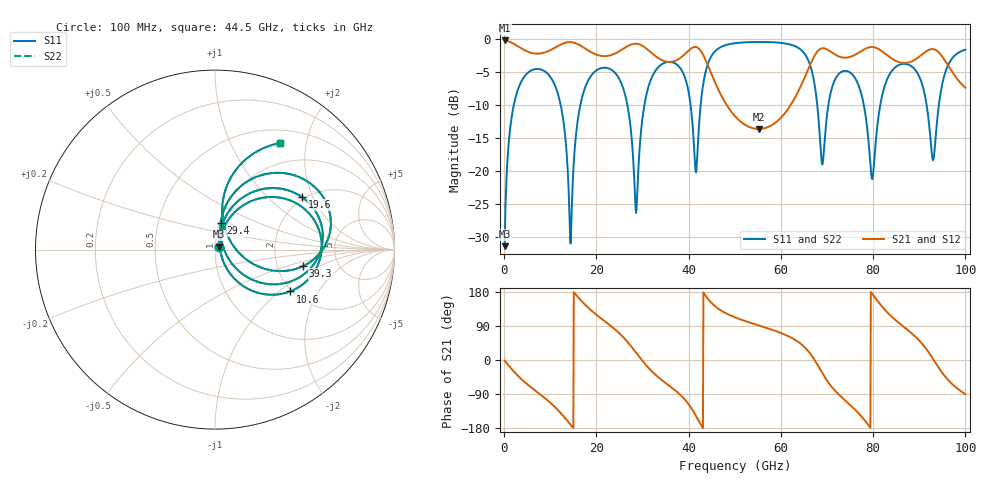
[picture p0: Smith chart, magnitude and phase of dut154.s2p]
! Touchstone file exported from HFSS 2026.1.0
!  File:  C:/ffzhzh/LocalFiles/Ansys_Project_Files/temp_test_TSV_RDL_154_1783464536_34316.aedt
!  Generated:  07:00:07 AM Jul  8, 2026
!  Design:  TSV_RDL
!  Project:  temp_test_TSV_RDL_154_1783464536_34316
! Variables:
!  h_bsmrdl = 4.61um
!  h_ox = 20um
!  h_rdl = 5um
!  h_sub = 90.59um
!  h_tmrdl = 4.79um
!  h_tsv = 90.59um
!  h_via = 3um
!  l_bsmrdl = 253.53um
!  l_sub = 3706.8um
!  l_tmrdl = 613.49um
!  m_sub = 200um
!  pitch = 53.82um
!  r_tsv = 11.66um
!  s_tmrdl = 10um
!  w_bsmrdl = 19.98um
!  w_sub = 500um
!  w_tmrdl = 10.77um
!  x_tsv_center1 = 618.875um
!  x_tsv_center2 = 892.385um
!  x_tsv_center3 = 1516.645um
!  x_tsv_center4 = 1790.155um
!  x_tsv_center5 = 2414.415um
!  x_tsv_center6 = 2687.925um
# GHz S MA R 50.000000
! Terminal data exported
! Port[1] = TM_RDL1_1_T1
! Port[2] = TM_RDL5_1_T1
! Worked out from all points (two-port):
!   1000 points, 100 MHz to 100 GHz, reference 50 ohm
!   highest |S21| = -0.18 dB at 100 MHz (marker M1); lowest = -13.6 dB at 55.2 GHz (marker M2)
!   |S21| within 3 dB of the highest: start of sweep to 34.24 GHz; 66.8 GHz to 84.63 GHz (17.83 GHz wide, 23.6 % of centre) (the widest 2 of 4)
!   lowest |S11| = -31.4 dB at 100 MHz (marker M3), VSWR 1.06, Z = 52.1 + j1.75 ohm
!   |S11| at or under -10 dB: 12.26 GHz to 16.51 GHz (4.253 GHz wide, 29.6 % of centre); 26.72 GHz to 30.4 GHz (3.682 GHz wide, 12.9 % of centre); 77.98 GHz to 81.54 GHz (3.554 GHz wide, 4.46 % of centre) (the widest 3 of 7)
!   |S22| runs from -31.4 to -0.4 dB; largest |S21 - S12| = 7.4e-14
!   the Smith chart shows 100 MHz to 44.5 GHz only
!   S11 on the Smith chart (normalised r, x): 100 MHz: 1.04, +0.03; 10.6 GHz: 1.96, -1.19; 19.6 GHz: 1.93, +1.66; 29.4 GHz: 1.02, +0.31; 39.3 GHz: 2.81, -0.69; 44.5 GHz: 0.68, +1.56
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0.1  0.02685 38.5  0.9793 -1.5  0.9793 -1.5  0.02685 38.5
! Gamma 0 0 0 0
! Port Impedance 50 0 50 0
3  0.4162 44.7  0.8836 -41.8  0.8836 -41.8  0.4162 44.7
10.6  0.479 -29.1  0.8467 -119.4  0.8467 -119.4  0.479 -29.1
14.4  0.02816 10.4  0.9515 -170.7  0.9515 -170.7  0.02857 10.4
16.8  0.3509 60.0  0.8836 155.3  0.8836 155.3  0.351 59.9
19.6  0.5657 31.2  0.7742 123.4  0.7742 123.4  0.5657 31.1
25.8  0.4258 -26.2  0.846 60.5  0.846 60.5  0.4259 -26.3
28.5  0.05157 -2.1  0.9254 21.1  0.9254 21.1  0.05112 -2.4
29.4  0.1533 77.6  0.9123 6.8  0.9123 6.8  0.153 77.8
33.4  0.6131 41.8  0.7203 -45.3  0.7203 -45.3  0.6129 41.8
39.3  0.5003 -10.5  0.7795 -105.9  0.7795 -105.9  0.5001 -10.5
41.6  0.09747 32.1  0.8739 -147.7  0.8739 -147.7  0.09843 32.2
44.5  0.6953 58.7  0.5952 156.7  0.5952 156.7  0.6956 58.6
50.1  0.9338 19.6  0.2595 112.3  0.2595 112.3  0.9338 19.6
55.2  0.9541 0.7  0.2084 91.3  0.2084 91.3  0.9541 0.7
66.7  0.5753 -67.6  0.6817 11.2  0.6817 11.2  0.5753 -67.6
69  0.1121 -28.0  0.8551 -35.0  0.8551 -35.0  0.1135 -28.1
72.9  0.559 -7.6  0.7332 -95.1  0.7332 -95.1  0.559 -8.0
79.8  0.08669 -5.3  0.8734 174.6  0.8734 174.6  0.08152 -5.5
83.4  0.5283 25.3  0.7401 121.6  0.7401 121.6  0.5276 25.5
92.8  0.1284 -16.0  0.8426 6.4  0.8426 6.4  0.1242 -16.8
100  0.8327 -3.4  0.429 -90.4  0.429 -90.4  0.8321 -3.4
